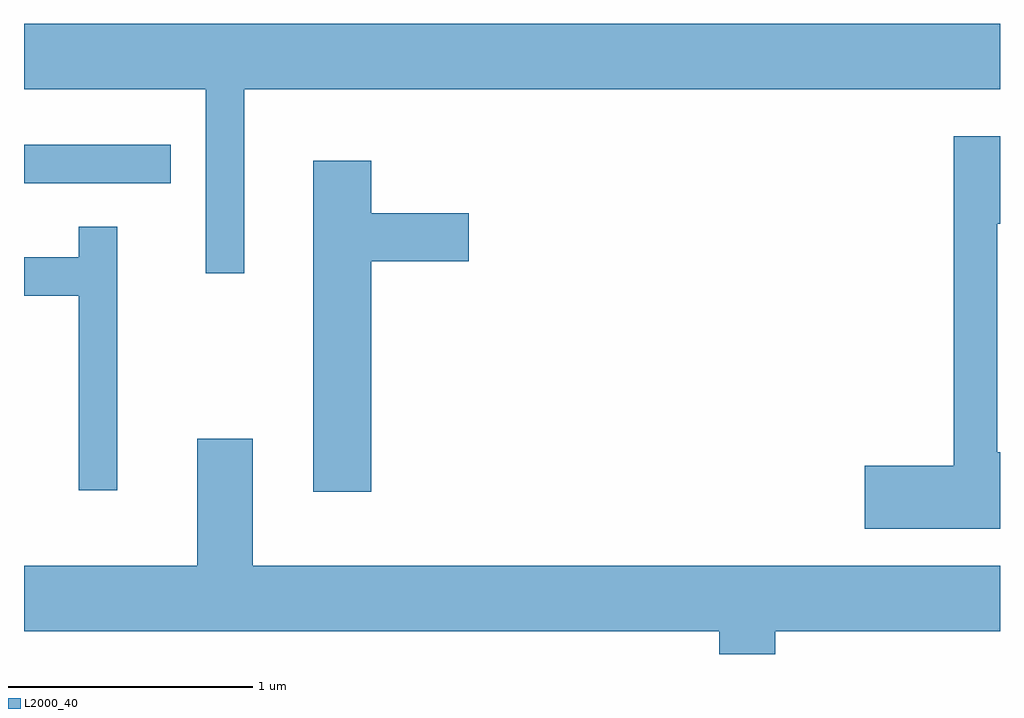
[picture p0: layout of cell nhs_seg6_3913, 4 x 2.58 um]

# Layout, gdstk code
import gdstk
lib = gdstk.Library(unit=1e-6, precision=1e-09)
def R(c, l, rs):  # rectangles x0, y0, x1, y1
    for r in rs: c.add(gdstk.rectangle(r[:2], r[2:], *l))
def P(c, l, *ps):  # polygons
    for p in ps: c.add(gdstk.Polygon(p, *l))
L2000_40 = (2000, 40)

nhs_seg6_3913 = lib.new_cell('nhs_seg6_3913')
R(nhs_seg6_3913, L2000_40, [(303.611,1554.091,304.213,1554.249)])
P(nhs_seg6_3913, L2000_40, [(304.514,1554.476),(307.611,1554.476),(307.611,1554.744),(303.611,1554.744),(303.611,1554.476),(304.356,1554.476),(304.356,1553.723),(304.514,1553.723)],
  [(307.611,1552.989),(307.599,1552.989),(307.599,1553.926),(307.611,1553.926),(307.611,1554.284),(307.421,1554.284),(307.421,1552.934),(307.056,1552.934),(307.056,1552.676),(307.611,1552.676)],
  [(305.034,1553.771),(305.434,1553.771),(305.434,1553.969),(305.034,1553.969),(305.034,1554.184),(304.796,1554.184),(304.796,1552.826),(305.034,1552.826)],
  [(303.994,1553.913),(303.836,1553.913),(303.836,1553.789),(303.611,1553.789),(303.611,1553.631),(303.836,1553.631),(303.836,1552.833),(303.994,1552.833)],
  [(306.689,1552.256),(307.611,1552.256),(307.611,1552.524),(304.549,1552.524),(304.549,1553.044),(304.321,1553.044),(304.321,1552.524),(303.611,1552.524),(303.611,1552.256),(306.461,1552.256),(306.461,1552.162),(306.689,1552.162)])

lib.write_gds('nhs_seg6_3913.gds')
